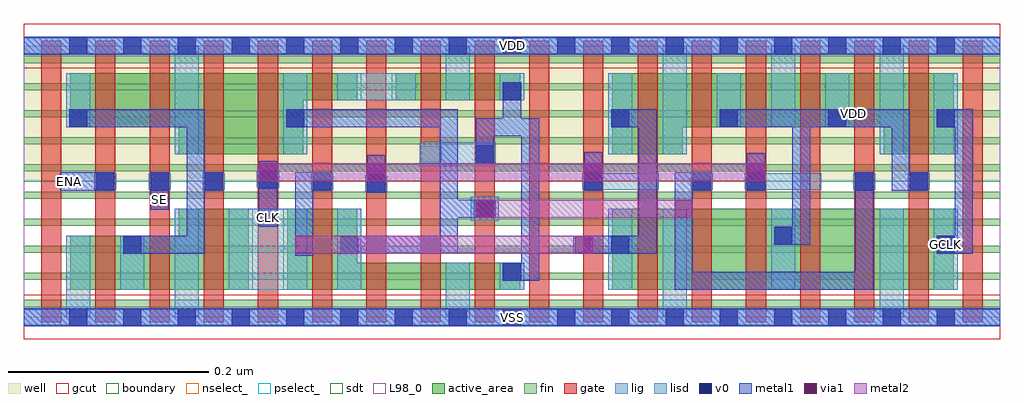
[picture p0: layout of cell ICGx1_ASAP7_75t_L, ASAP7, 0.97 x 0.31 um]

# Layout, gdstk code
import gdstk
lib = gdstk.Library(unit=1e-6, precision=2.5e-10)
def R(c, l, rs):  # rectangles x0, y0, x1, y1
    for r in rs: c.add(gdstk.rectangle(r[:2], r[2:], *l))
def A(c, l, x, y, w, h, nx, ny, dx, dy):  # array of equal rectangles
    R(c, l, [(x+i*dx, y+j*dy, x+i*dx+w, y+j*dy+h) for i in range(nx) for j in range(ny)])
def P(c, l, *ps):  # polygons
    for p in ps: c.add(gdstk.Polygon(p, *l))
well = (1, 0)
fin = (2, 0)
gate = (7, 0)
gcut = (10, 0)
active_area = (11, 0)
nselect_ = (12, 0)
pselect_ = (13, 0)
lig = (16, 0)
lisd = (17, 0)
v0 = (18, 0)
metal1 = (19, 0)
metal2 = (20, 0)
via1 = (21, 0)
sdt = (88, 0)
L98_0 = (98, 0)
boundary = (100, 0)

icgx1_asap7_75t_l = lib.new_cell('ICGx1_ASAP7_75t_L')
R(icgx1_asap7_75t_l, well, [(0,0.135,0.972,0.27)])
A(icgx1_asap7_75t_l, fin, 0, 0.01, 0.972, 0.007, 1, 10, 0, 0.027)
A(icgx1_asap7_75t_l, gate, 0.017, -0.005, 0.02, 0.28, 18, 1, 0.054, 0)
R(icgx1_asap7_75t_l, gcut, [(0,-0.022,0.972,0.022), (0,0.248,0.972,0.292)])
R(icgx1_asap7_75t_l, active_area, [(0.586,0.027,0.926,0.108), (0.37,0.216,0.494,0.243)])
P(icgx1_asap7_75t_l, active_area, [(0.046,0.027),(0.224,0.027),(0.224,0.108),(0.154,0.108),(0.154,0.081),(0.046,0.081)],
  [(0.332,0.108),(0.262,0.108),(0.262,0.027),(0.494,0.027),(0.494,0.054),(0.332,0.054)],
  [(0.046,0.189),(0.154,0.189),(0.154,0.162),(0.278,0.162),(0.278,0.216),(0.332,0.216),(0.332,0.243),(0.046,0.243)],
  [(0.856,0.162),(0.926,0.162),(0.926,0.243),(0.586,0.243),(0.586,0.162),(0.656,0.162),(0.656,0.189),(0.856,0.189)])
R(icgx1_asap7_75t_l, nselect_, [(0,0,0.972,0.135)])
R(icgx1_asap7_75t_l, pselect_, [(0,0.135,0.972,0.27)])
A(icgx1_asap7_75t_l, lig, 0.07, 0.127, 0.022, 0.016, 3, 1, 0.054, 0)
R(icgx1_asap7_75t_l, lig, [(0,-0.008,0.972,0.008), (0.448,0.1,0.47,0.116), (0.34,0.125,0.362,0.141), (0.286,0.127,0.308,0.143), (0.556,0.127,0.632,0.143), (0.664,0.127,0.686,0.143), (0.718,0.127,0.794,0.143), (0.826,0.127,0.848,0.143), (0.88,0.127,0.902,0.143), (0.232,0.129,0.254,0.145), (0.394,0.154,0.416,0.17), (0,0.262,0.972,0.278)])
A(icgx1_asap7_75t_l, lisd, 0.582, 0.027, 0.024, 0.081, 3, 1, 0.162, 0)
A(icgx1_asap7_75t_l, lisd, 0.258, 0.162, 0.024, 0.081, 3, 1, 0.324, 0)
R(icgx1_asap7_75t_l, lisd, [(0.042,0,0.066,0.081), (0.15,0,0.174,0.108), (0.42,0,0.444,0.054), (0.636,0,0.66,0.108), (0.852,0,0.876,0.108), (0.096,0.027,0.12,0.081), (0.204,0.027,0.282,0.108), (0.312,0.027,0.336,0.108), (0.474,0.027,0.498,0.054), (0.445,0.096,0.473,0.12), (0.394,0.15,0.47,0.174), (0.15,0.162,0.174,0.27), (0.636,0.162,0.66,0.27), (0.852,0.162,0.876,0.27), (0.042,0.189,0.066,0.243), (0.69,0.189,0.714,0.243), (0.744,0.189,0.768,0.27), (0.798,0.189,0.822,0.243), (0.312,0.216,0.39,0.243), (0.42,0.216,0.444,0.27), (0.474,0.216,0.498,0.243)])
A(icgx1_asap7_75t_l, v0, 0.045, -0.009, 0.018, 0.018, 17, 2, 0.054, 0.27)
A(icgx1_asap7_75t_l, v0, 0.072, 0.126, 0.018, 0.018, 3, 1, 0.054, 0)
A(icgx1_asap7_75t_l, v0, 0.585, 0.189, 0.018, 0.018, 4, 1, 0.108, 0)
R(icgx1_asap7_75t_l, v0, [(0.477,0.036,0.495,0.054), (0.099,0.063,0.117,0.081), (0.315,0.063,0.333,0.081), (0.585,0.063,0.603,0.081), (0.909,0.063,0.927,0.081), (0.747,0.072,0.765,0.09), (0.452,0.099,0.47,0.117), (0.342,0.124,0.36,0.142), (0.288,0.126,0.306,0.144), (0.558,0.126,0.576,0.144), (0.666,0.126,0.684,0.144), (0.72,0.126,0.738,0.144), (0.828,0.126,0.846,0.144), (0.882,0.126,0.9,0.144), (0.234,0.128,0.252,0.146), (0.45,0.153,0.468,0.171), (0.045,0.189,0.063,0.207), (0.261,0.189,0.279,0.207), (0.477,0.216,0.495,0.234)])
R(icgx1_asap7_75t_l, metal1, [(0,-0.009,0.972,0.009), (0.234,0.09,0.252,0.155), (0.126,0.107,0.144,0.144), (0.342,0.124,0.36,0.161), (0.036,0.126,0.09,0.144), (0.558,0.126,0.576,0.164), (0.72,0.126,0.738,0.163), (0,0.261,0.972,0.279)])
P(icgx1_asap7_75t_l, metal1, [(0.846,0.144),(0.828,0.144),(0.828,0.045),(0.666,0.045),(0.666,0.126),(0.684,0.126),(0.684,0.144),(0.648,0.144),(0.648,0.027),(0.846,0.027)],
  [(0.288,0.126),(0.306,0.126),(0.306,0.144),(0.27,0.144),(0.27,0.061),(0.288,0.061)],
  [(0.909,0.207),(0.909,0.189),(0.927,0.189),(0.927,0.081),(0.909,0.081),(0.909,0.063),(0.945,0.063),(0.945,0.207)],
  [(0.783,0.189),(0.864,0.189),(0.864,0.126),(0.9,0.126),(0.9,0.144),(0.882,0.144),(0.882,0.207),(0.693,0.207),(0.693,0.189),(0.765,0.189),(0.765,0.09),(0.747,0.09),(0.747,0.072),(0.783,0.072)],
  [(0.63,0.207),(0.585,0.207),(0.585,0.189),(0.612,0.189),(0.612,0.081),(0.547,0.081),(0.547,0.063),(0.63,0.063)],
  [(0.432,0.099),(0.47,0.099),(0.47,0.117),(0.432,0.117),(0.432,0.207),(0.261,0.207),(0.261,0.189),(0.414,0.189),(0.414,0.081),(0.315,0.081),(0.315,0.063),(0.432,0.063)],
  [(0.18,0.126),(0.198,0.126),(0.198,0.144),(0.18,0.144),(0.18,0.207),(0.045,0.207),(0.045,0.189),(0.162,0.189),(0.162,0.081),(0.099,0.081),(0.099,0.063),(0.18,0.063)],
  [(0.513,0.198),(0.495,0.198),(0.495,0.234),(0.477,0.234),(0.477,0.198),(0.45,0.198),(0.45,0.153),(0.468,0.153),(0.468,0.18),(0.495,0.18),(0.495,0.054),(0.477,0.054),(0.477,0.036),(0.513,0.036)])
R(icgx1_asap7_75t_l, metal2, [(0.27,0.063,0.567,0.081), (0.45,0.099,0.666,0.117), (0.234,0.135,0.738,0.153)])
R(icgx1_asap7_75t_l, via1, [(0.27,0.063,0.288,0.081), (0.549,0.063,0.567,0.081), (0.45,0.099,0.468,0.117), (0.648,0.099,0.666,0.117), (0.234,0.135,0.252,0.153), (0.342,0.135,0.36,0.153), (0.558,0.135,0.576,0.153), (0.72,0.135,0.738,0.153)])
A(icgx1_asap7_75t_l, sdt, 0.15, 0.027, 0.024, 0.081, 4, 1, 0.054, 0)
A(icgx1_asap7_75t_l, sdt, 0.636, 0.027, 0.024, 0.081, 3, 1, 0.108, 0)
A(icgx1_asap7_75t_l, sdt, 0.69, 0.189, 0.024, 0.054, 3, 1, 0.054, 0)
A(icgx1_asap7_75t_l, sdt, 0.312, 0.216, 0.024, 0.027, 4, 1, 0.054, 0)
R(icgx1_asap7_75t_l, sdt, [(0.042,0.027,0.066,0.081), (0.096,0.027,0.12,0.081), (0.42,0.027,0.444,0.054), (0.474,0.027,0.498,0.054), (0.582,0.027,0.606,0.108), (0.906,0.027,0.93,0.108), (0.15,0.162,0.174,0.243), (0.258,0.162,0.282,0.243), (0.582,0.162,0.606,0.243), (0.636,0.162,0.66,0.243), (0.852,0.162,0.876,0.243), (0.906,0.162,0.93,0.243), (0.042,0.189,0.066,0.243)])
R(icgx1_asap7_75t_l, L98_0, [(0,0,0.972,0.27)])
R(icgx1_asap7_75t_l, boundary, [(0,0,0.972,0.27)])
icgx1_asap7_75t_l.add(gdstk.Label('SE', (0.135,0.117), layer=19, texttype=251))
icgx1_asap7_75t_l.add(gdstk.Label('GCLK', (0.918,0.072), layer=19, texttype=251))
icgx1_asap7_75t_l.add(gdstk.Label('ENA', (0.045,0.135), layer=19, texttype=251))
icgx1_asap7_75t_l.add(gdstk.Label('CLK', (0.243,0.099), layer=19, texttype=251))
icgx1_asap7_75t_l.add(gdstk.Label('VSS', (0.486,0), layer=19, texttype=251))
icgx1_asap7_75t_l.add(gdstk.Label('VDD', (0.486,0.27), layer=19, texttype=251))
icgx1_asap7_75t_l.add(gdstk.Label('VDD', (0.8263,0.2025), layer=1, texttype=251))
icgx1_asap7_75t_l.add(gdstk.Label('VSS', (1.1178,0.2025), layer=3, texttype=251))

lib.write_gds('ICGx1_ASAP7_75t_L.gds')
